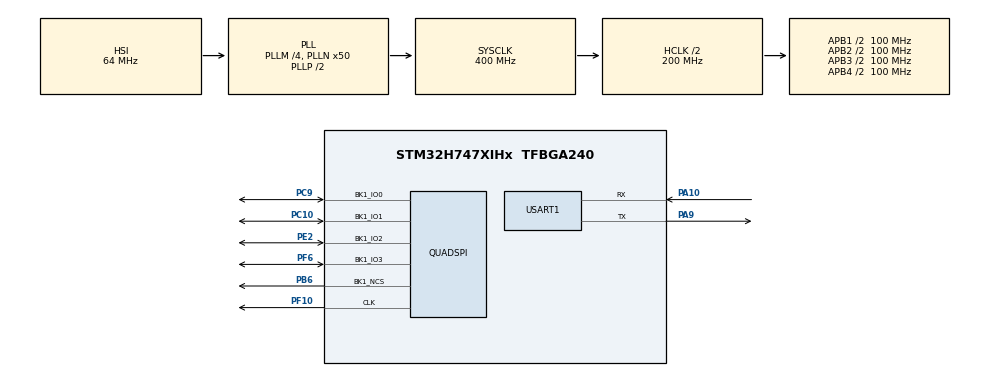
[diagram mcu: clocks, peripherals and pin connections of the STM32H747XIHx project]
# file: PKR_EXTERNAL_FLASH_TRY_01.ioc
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CortexM4.IPs=BDMA,DMA,FATFS_M4\:I,FREERTOS_M4\:I,IWDG2\:I,MDMA,NVIC2\:I,RCC,USB_DEVICE_M4\:I,USB_HOST_M4\:I,WWDG2\:I,ADC1\:I,DCMI\:I,TIM3\:I,DEBUG,PDM2PCM_M4\:I,PWR,RESMGR_UTILITY,SYS_M4\:I,CORTEX_M4\:I,OPENAMP_M4\:I,VREFBUF,GPIO
CortexM7.IPs=BDMA\:I,DMA\:I,FATFS_M7\:I,FREERTOS_M7\:I,IWDG1\:I,MDMA\:I,NVIC1\:I,RCC\:I,USB_DEVICE_M7\:I,USB_HOST_M7\:I,WWDG1\:I,CORTEX_M7\:I,DEBUG\:I,PDM2PCM_M7\:I,PWR\:I,RESMGR_UTILITY\:I,SYS\:I,OPENAMP_M7\:I,VREFBUF\:I,GPIO\:I,QUADSPI\:I,USART1\:I
Mcu.Family=STM32H7
Mcu.Name=STM32H747XIHx
Mcu.Package=TFBGA240
NVIC1.PriorityGroup=NVIC_PRIORITYGROUP_4
NVIC2.PriorityGroup=NVIC_PRIORITYGROUP_4
PA10.Mode=Asynchronous
PA10.PinAttribute=CortexM7
PA10.Signal=USART1_RX
PA9.Mode=Asynchronous
PA9.PinAttribute=CortexM7
PA9.Signal=USART1_TX
PB6.Mode=Single Bank 1
PB6.PinAttribute=CortexM7
PB6.Signal=QUADSPI_BK1_NCS
PC10.Mode=Single Bank 1
PC10.PinAttribute=CortexM7
PC10.Signal=QUADSPI_BK1_IO1
PC9.Mode=Single Bank 1
PC9.PinAttribute=CortexM7
PC9.Signal=QUADSPI_BK1_IO0
PE2.Mode=Single Bank 1
PE2.PinAttribute=CortexM7
PE2.Signal=QUADSPI_BK1_IO2
PF10.Mode=Single Bank 1
PF10.PinAttribute=CortexM7
PF10.Signal=QUADSPI_CLK
PF6.Mode=Single Bank 1
PF6.PinAttribute=CortexM7
PF6.Signal=QUADSPI_BK1_IO3
ProjectManager.HeapSize=M4-0x200,M7-0x200
ProjectManager.StackSize=M4-0x400,M7-0x400
ProjectManager.TargetToolchain=STM32CubeIDE
RCC.ADCFreq_Value=75000000
RCC.APB1Freq_Value=100000000
RCC.APB2Freq_Value=100000000
RCC.APB3Freq_Value=100000000
RCC.APB4Freq_Value=100000000
RCC.CortexFreq_Value=400000000
RCC.D1PPRE=RCC_APB3_DIV2
RCC.D2PPRE1=RCC_APB1_DIV2
RCC.D2PPRE2=RCC_APB2_DIV2
RCC.D3PPRE=RCC_APB4_DIV2
RCC.DIVM1=4
RCC.DIVM2=4
RCC.DIVN1=50
RCC.DIVN2=9
RCC.HCLKFreq_Value=200000000
RCC.HPRE=RCC_HCLK_DIV2
RCC.PLL2FRACN=3072
RCC.PLL3FRACN=0
RCC.PLLFRACN=0
RCC.PWR_Regulator_Voltage_Scale=PWR_REGULATOR_VOLTAGE_SCALE1
RCC.SYSCLKFreq_VALUE=400000000
RCC.SYSCLKSource=RCC_SYSCLKSOURCE_PLLCLK
RCC.SupplySource=PWR_DIRECT_SMPS_SUPPLY
RCC.USBFreq_Value=400000000
USART1.VirtualMode-Asynchronous=VM_ASYNC
VP_SYS_M4_VS_Systick.Mode=SysTick
board=STM32H747I-DISCO

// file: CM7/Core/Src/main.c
/* USER CODE BEGIN Header */
/**
  ******************************************************************************
  * @file           : main.c
  * @brief          : Main program body
  ******************************************************************************
  * @attention
  *
  * Copyright (c) 2024 STMicroelectronics.
  * All rights reserved.
  *
  * This software is licensed under terms that can be found in the LICENSE file
  * in the root directory of this software component.
  * If no LICENSE file comes with this software, it is provided AS-IS.
  *
  ******************************************************************************
  */
/* USER CODE END Header */
#include "main.h"
//#include "quadspi.h"
#include "usart.h"
#include "gpio.h"

/* USER CODE BEGIN Includes */
#include <stdio.h>
#include "stm32h747i_discovery_qspi.h"
#define BUFFER_SIZE 1024
/* USER CODE END Includes */

/* USER CODE BEGIN PD */

#ifndef HSEM_ID_0
#define HSEM_ID_0 (0U) /* HW semaphore 0*/
#endif

/* USER CODE END PD */

void SystemClock_Config(void);
/* USER CODE BEGIN PFP */
int _write(int fd, char *ptr, int len)
{
	HAL_UART_Transmit(&huart1, (unsigned char*)ptr, len, HAL_MAX_DELAY);
	return len;
}
/* USER CODE END PFP */

int main(void)
{

/* USER CODE BEGIN Boot_Mode_Sequence_0 */
  int32_t timeout;
/* USER CODE END Boot_Mode_Sequence_0 */

/* USER CODE BEGIN Boot_Mode_Sequence_1 */
  /* Wait until CPU2 boots and enters in stop mode or timeout*/
  timeout = 0xFFFF;
  while((__HAL_RCC_GET_FLAG(RCC_FLAG_D2CKRDY) != RESET) && (timeout-- > 0));
  if ( timeout < 0 )
  {
  Error_Handler();
  }
/* USER CODE END Boot_Mode_Sequence_1 */
  /* MCU Configuration--------------------------------------------------------*/

  /* Reset of all peripherals, Initializes the Flash interface and the Systick. */
  HAL_Init();

  /* Configure the system clock */
  SystemClock_Config();
/* USER CODE BEGIN Boot_Mode_Sequence_2 */
/* When system initialization is finished, Cortex-M7 will release Cortex-M4 by means of
HSEM notification */
/*HW semaphore Clock enable*/
__HAL_RCC_HSEM_CLK_ENABLE();
/*Take HSEM */
HAL_HSEM_FastTake(HSEM_ID_0);
/*Release HSEM in order to notify the CPU2(CM4)*/
HAL_HSEM_Release(HSEM_ID_0,0);
/* wait until CPU2 wakes up from stop mode */
timeout = 0xFFFF;
while((__HAL_RCC_GET_FLAG(RCC_FLAG_D2CKRDY) == RESET) && (timeout-- > 0));
if ( timeout < 0 )
{
Error_Handler();
}
/* USER CODE END Boot_Mode_Sequence_2 */

  /* Initialize all configured peripherals */
  MX_GPIO_Init();
//  MX_QUADSPI_Init();
  MX_USART1_UART_Init();
  /* USER CODE BEGIN 2 */
  BSP_QSPI_Init_t init;
  init.InterfaceMode=MT25TL01G_QPI_MODE;
  init.TransferRate= MT25TL01G_DTR_TRANSFER ;
  init.DualFlashMode= MT25TL01G_DUALFLASH_ENABLE;
  int32_t ret;
  ret = BSP_QSPI_Init(0, &init);
  printf("QSPI return: %ld\n\r", ret);
  /* USER CODE END 2 */

  /* Infinite loop */
  /* USER CODE BEGIN WHILE */
  while (1)
  {
//	  int error = 0;
//	  uint8_t srcBuf[BUFFER_SIZE] = {0, };
	  uint8_t dstBuf[BUFFER_SIZE] = {0, };
//	  for (int i = 0; i < BUFFER_SIZE; i++) {
//		  srcBuf[i] = i;
//	  }
//	  BSP_QSPI_EraseBlock(0, 0, BUFFER_SIZE);
//	  printf("Write data to Flash by QSPI.\r\n");
//	  BSP_QSPI_Write(0, srcBuf, 0x90000000, BUFFER_SIZE);
	  printf("Read data from Flash by QSPI.\r\n");
	  BSP_QSPI_Read(0, dstBuf, 0, BUFFER_SIZE);

	  printf("Verify by comparing buffers.\r\n");
	  for (int i = 0; i < BUFFER_SIZE; i++) {
		  printf("%c ", dstBuf[i]);
	  }
	  printf("\r\n");
	  HAL_Delay(1000);
    /* USER CODE END WHILE */

  }
}

void SystemClock_Config(void)
{
  RCC_OscInitTypeDef RCC_OscInitStruct = {0};
  RCC_ClkInitTypeDef RCC_ClkInitStruct = {0};

  /** Supply configuration update enable
  */
  HAL_PWREx_ConfigSupply(PWR_DIRECT_SMPS_SUPPLY);

  /** Configure the main internal regulator output voltage
  */
  __HAL_PWR_VOLTAGESCALING_CONFIG(PWR_REGULATOR_VOLTAGE_SCALE1);

  while(!__HAL_PWR_GET_FLAG(PWR_FLAG_VOSRDY)) {}

  /** Initializes the RCC Oscillators according to the specified parameters
  * in the RCC_OscInitTypeDef structure.
  */
  RCC_OscInitStruct.OscillatorType = RCC_OSCILLATORTYPE_HSI;
  RCC_OscInitStruct.HSIState = RCC_HSI_DIV1;
  RCC_OscInitStruct.HSICalibrationValue = RCC_HSICALIBRATION_DEFAULT;
  RCC_OscInitStruct.PLL.PLLState = RCC_PLL_ON;
  RCC_OscInitStruct.PLL.PLLSource = RCC_PLLSOURCE_HSI;
  RCC_OscInitStruct.PLL.PLLM = 4;
  RCC_OscInitStruct.PLL.PLLN = 50;
  RCC_OscInitStruct.PLL.PLLP = 2;
  RCC_OscInitStruct.PLL.PLLQ = 2;
  RCC_OscInitStruct.PLL.PLLR = 2;
  RCC_OscInitStruct.PLL.PLLRGE = RCC_PLL1VCIRANGE_3;
  RCC_OscInitStruct.PLL.PLLVCOSEL = RCC_PLL1VCOWIDE;
  RCC_OscInitStruct.PLL.PLLFRACN = 0;
  if (HAL_RCC_OscConfig(&RCC_OscInitStruct) != HAL_OK)
  {
    Error_Handler();
  }

  /** Initializes the CPU, AHB and APB buses clocks
  */
  RCC_ClkInitStruct.ClockType = RCC_CLOCKTYPE_HCLK|RCC_CLOCKTYPE_SYSCLK
                              |RCC_CLOCKTYPE_PCLK1|RCC_CLOCKTYPE_PCLK2
                              |RCC_CLOCKTYPE_D3PCLK1|RCC_CLOCKTYPE_D1PCLK1;
  RCC_ClkInitStruct.SYSCLKSource = RCC_SYSCLKSOURCE_PLLCLK;
  RCC_ClkInitStruct.SYSCLKDivider = RCC_SYSCLK_DIV1;
  RCC_ClkInitStruct.AHBCLKDivider = RCC_HCLK_DIV2;
  RCC_ClkInitStruct.APB3CLKDivider = RCC_APB3_DIV2;
  RCC_ClkInitStruct.APB1CLKDivider = RCC_APB1_DIV2;
  RCC_ClkInitStruct.APB2CLKDivider = RCC_APB2_DIV2;
  RCC_ClkInitStruct.APB4CLKDivider = RCC_APB4_DIV2;

  if (HAL_RCC_ClockConfig(&RCC_ClkInitStruct, FLASH_LATENCY_2) != HAL_OK)
  {
    Error_Handler();
  }
}

void Error_Handler(void)
{
  __disable_irq();
  while (1)
  {
  }
}
